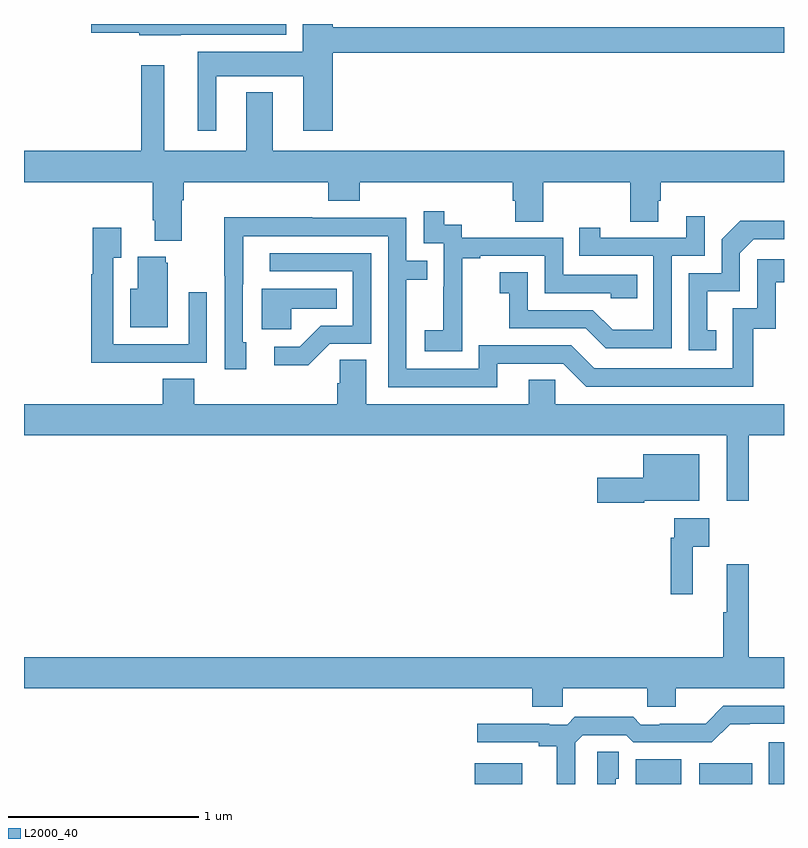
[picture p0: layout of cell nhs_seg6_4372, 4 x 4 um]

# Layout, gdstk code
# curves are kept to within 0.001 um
import gdstk
lib = gdstk.Library(unit=1e-6, precision=1e-09)
def R(c, l, rs):  # rectangles x0, y0, x1, y1
    for r in rs: c.add(gdstk.rectangle(r[:2], r[2:], *l))
def P(c, l, *ps):  # polygons
    for p in ps: c.add(gdstk.Polygon(p, *l))
L2000_40 = (2000, 40)

nhs_seg6_4372 = lib.new_cell('nhs_seg6_4372')
R(nhs_seg6_4372, L2000_40, [(371.372,945.5,371.623,945.61), (372.221,945.5,372.46,945.631), (372.554,945.5,372.832,945.61), (372.921,945.5,373,945.721)])
P(nhs_seg6_4372, L2000_40, [(369.825,949.443),(370.381,949.443),(370.381,949.5),(369.354,949.5),(369.354,949.454),(369.606,949.454),(369.606,949.442),(369.825,949.442)],
  [(370.012,949.226),(370.469,949.226),(370.469,948.939),(370.625,948.939),(370.625,949.348),(373,949.348),(373,949.484),(370.625,949.484),(370.625,949.5),(370.466,949.5),(370.466,949.354),(369.914,949.354),(369.914,948.939),(370.012,948.939)],
  [(370.309,949.141),(370.169,949.141),(370.169,948.832),(369.739,948.832),(369.739,949.282),(369.618,949.282),(369.618,948.832),(369,948.832),(369,948.668),(369.677,948.668),(369.677,948.466),(369.689,948.466),(369.689,948.359),(369.829,948.359),(369.829,948.572),(369.842,948.572),(369.842,948.668),(370.601,948.668),(370.601,948.569),(370.766,948.569),(370.766,948.668),(371.573,948.668),(371.573,948.57),(371.585,948.57),(371.585,948.46),(371.733,948.46),(371.733,948.668),(372.19,948.668),(372.19,948.46),(372.337,948.46),(372.337,948.57),(372.35,948.57),(372.35,948.668),(373,948.668),(373,948.832),(370.309,948.832)],
  [(371.307,947.983),(371.306,947.983),(371.306,948.267),(371.401,948.267),(371.401,948.279),(371.742,948.279),(371.742,948.084),(372.087,948.084),(372.087,948.057),(372.227,948.057),(372.227,948.18),(371.838,948.18),(371.838,948.375),(371.304,948.375),(371.304,948.444),(371.212,948.444),(371.212,948.514),(371.103,948.514),(371.103,948.345),(371.208,948.345),(371.208,948.116),(371.207,948.116),(371.207,947.887),(371.109,947.887),(371.109,947.777),(371.307,947.777)],
  [(372.408,948.279),(372.582,948.279),(372.582,948.487),(372.485,948.487),(372.485,948.375),(372.034,948.375),(372.034,948.427),(371.923,948.427),(371.923,948.279),(372.312,948.279),(372.312,947.89),(372.098,947.89),(371.994,947.994),(371.652,947.994),(371.652,948.193),(371.505,948.193),(371.505,948.083),(371.554,948.083),(371.554,947.898),(371.957,947.898),(372.062,947.793),(372.408,947.793)],
  [(371.491,947.712),(371.838,947.712),(371.958,947.592),(372.838,947.592),(372.838,947.895),(372.956,947.895),(372.956,948.141),(373,948.141),(373,948.262),(372.858,948.262),(372.858,948.003),(372.729,948.003),(372.729,947.688),(372,947.688),(371.88,947.808),(371.394,947.808),(371.394,947.685),(371.013,947.685),(371.013,948.154),(371.123,948.154),(371.123,948.255),(371.013,948.255),(371.013,948.48),(370.517,948.48),(370.517,948.482),(370.054,948.482),(370.054,948.175),(370.056,948.175),(370.056,947.682),(370.171,947.682),(370.171,947.826),(370.152,947.826),(370.153,948.384),(370.917,948.384),(370.917,947.589),(371.491,947.589)],
  [(372.644,947.889),(372.595,947.889),(372.595,948.093),(372.768,948.093),(372.768,948.294),(372.84,948.366),(373,948.366),(373,948.464),(372.77,948.464),(372.672,948.366),(372.672,948.189),(372.498,948.189),(372.498,947.784),(372.644,947.784)],
  [(369.647,947.718),(369.963,947.718),(369.963,948.088),(369.867,948.088),(369.867,947.814),(369.471,947.814),(369.471,948.271),(369.511,948.271),(369.511,948.427),(369.363,948.427),(369.363,948.182),(369.355,948.182),(369.355,947.717),(369.647,947.717)],
  [(370.608,947.817),(370.827,947.817),(370.827,948.294),(370.293,948.294),(370.293,948.198),(370.731,948.198),(370.731,947.913),(370.562,947.913),(370.451,947.802),(370.317,947.802),(370.317,947.705),(370.495,947.705)],
  [(369.757,948.243),(369.746,948.243),(369.746,948.274),(369.599,948.274),(369.599,948.106),(369.56,948.106),(369.56,947.903),(369.757,947.903)],
  [(370.407,948.002),(370.646,948.002),(370.646,948.106),(370.25,948.106),(370.25,947.894),(370.407,947.894)],
  [(372.815,947.336),(373,947.336),(373,947.5),(371.796,947.5),(371.796,947.627),(371.657,947.627),(371.657,947.5),(370.801,947.5),(370.801,947.732),(370.662,947.732),(370.662,947.609),(370.649,947.609),(370.649,947.5),(369.896,947.5),(369.896,947.633),(369.731,947.633),(369.731,947.5),(369,947.5),(369,947.336),(372.698,947.336),(372.698,946.992),(372.815,946.992)],
  [(372.264,946.991),(372.553,946.991),(372.553,947.236),(372.26,947.236),(372.26,947.113),(372.018,947.113),(372.018,946.979),(372.264,946.979)],
  [(372.521,946.748),(372.607,946.748),(372.607,946.9),(372.423,946.9),(372.423,946.796),(372.403,946.796),(372.403,946.5),(372.521,946.5)],
  [(371.835,946.004),(372.28,946.004),(372.28,945.906),(372.43,945.906),(372.43,946.004),(373,946.004),(373,946.168),(372.815,946.168),(372.815,946.657),(372.698,946.657),(372.698,946.404),(372.679,946.404),(372.679,946.168),(369,946.168),(369,946.004),(371.675,946.004),(371.675,945.906),(371.835,945.906)],
  [(371.901,945.717),(371.94,945.756),(372.171,945.756),(372.207,945.72),(372.621,945.72),(372.716,945.815),(373,945.816),(373,945.912),(372.681,945.912),(372.587,945.818),(372.346,945.818),(372.346,945.813),(372.246,945.813),(372.207,945.853),(371.899,945.853),(371.859,945.813),(371.765,945.813),(371.765,945.818),(371.385,945.818),(371.385,945.72),(371.708,945.72),(371.708,945.698),(371.804,945.698),(371.804,945.5),(371.901,945.5)],
  [(372.114,945.528),(372.13,945.528),(372.13,945.671),(372.018,945.671),(372.018,945.5),(372.114,945.5)])

lib.write_gds('nhs_seg6_4372.gds')
